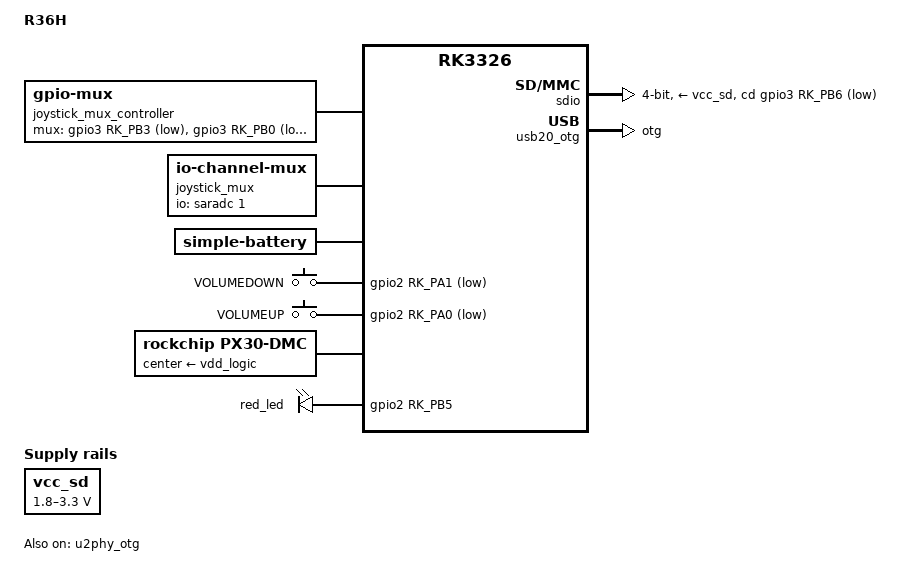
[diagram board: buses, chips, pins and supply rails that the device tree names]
// SPDX-License-Identifier: (GPL-2.0+ OR MIT)
/*
 * R36H (HL-R36H board): the ODROID-GO Super's layout without the FN button,
 * a 640x480 NV3051D panel and a second SD slot. Values from its stock DTB.
 */

/dts-v1/;
#include "rk3326-odroid-go.dtsi"

/ {
	model = "R36H";
	compatible = "gameconsole,r36h", "rockchip,rk3326";

	aliases {
		mmc1 = &sdio;
	};

	chosen {
		stdout-path = "serial2:115200n8";
	};

	reserved-memory {
		#address-cells = <2>;
		#size-cells = <2>;
		ranges;

		/* the kernel log survives a warm reset: boot.ini copies it to BOOT/ramoops.bin */
		ramoops@f000000 {
			compatible = "ramoops";
			reg = <0x0 0x0f000000 0x0 0x100000>;
			console-size = <0x80000>;
			record-size = <0x20000>;
		};
	};

	joystick_mux_controller: mux-controller {
		compatible = "gpio-mux";
		pinctrl-0 = <&mux_en_pins>;
		pinctrl-names = "default";
		#mux-control-cells = <0>;

		mux-gpios = <&gpio3 RK_PB3 GPIO_ACTIVE_LOW>,
			    <&gpio3 RK_PB0 GPIO_ACTIVE_LOW>;
	};

	joystick_mux: adc-mux {
		compatible = "io-channel-mux";
		io-channels = <&saradc 1>;
		io-channel-names = "parent";
		#io-channel-cells = <1>;

		mux-controls = <&joystick_mux_controller>;
		channels = "0", "1", "2", "3";
	};

	battery: battery {
		compatible = "simple-battery";
		charge-full-design-microamp-hours = <3380000>;
		charge-term-current-microamp = <300000>;
		constant-charge-current-max-microamp = <2000000>;
		constant-charge-voltage-max-microvolt = <4200000>;
		factory-internal-resistance-micro-ohms = <100000>;
		voltage-max-design-microvolt = <4200000>;
		voltage-min-design-microvolt = <3500000>;

		ocv-capacity-celsius = <20>;
		ocv-capacity-table-0 =  <4000000 100>, <3995000 95>, <3990000 90>, <3950000 85>,
					<3910000 80>, <3870000 75>, <3830000 70>, <3790000 65>,
					<3750000 60>, <3710000 55>, <3670000 50>, <3630000 45>,
					<3580000 40>, <3530000 35>, <3480000 30>, <3430000 25>,
					<3380000 20>, <3330000 15>, <3280000 10>, <3220000 5>,
					<3165000 0>;
	};

	gpio-keys-vol {
		compatible = "gpio-keys";
		autorepeat;
		pinctrl-0 = <&btn_pins_vol>;
		pinctrl-names = "default";

		button-vol-down {
			gpios = <&gpio2 RK_PA1 GPIO_ACTIVE_LOW>;
			label = "VOLUMEDOWN";
			linux,code = <KEY_VOLUMEDOWN>;
		};

		button-volume-up {
			gpios = <&gpio2 RK_PA0 GPIO_ACTIVE_LOW>;
			label = "VOLUMEUP";
			linux,code = <KEY_VOLUMEUP>;
		};
	};

	/* named as the GA36-MB's card, which the launcher and the scripts look for */
	rk817-sound {
		simple-audio-card,name = "GA36mbAudio";
		simple-audio-card,hp-det-gpios = <&gpio2 RK_PC6 GPIO_ACTIVE_LOW>;
	};

	/* from ROCKNIX's rk3326.dtsi: BL31 changes the DDR rate (0002, 0003) */
	dfi: dfi@ff610000 {
		compatible = "rockchip,px30-dfi";
		reg = <0x0 0xff610000 0x0 0x400>;
		rockchip,pmu = <&pmugrf>;
	};

	dmc: dmc {
		compatible = "rockchip,px30-dmc";
		interrupts = <GIC_SPI 105 IRQ_TYPE_LEVEL_HIGH>;
		interrupt-names = "complete";
		devfreq-events = <&dfi>;
		operating-points-v2 = <&dmc_opp_table>;
		center-supply = <&vdd_logic>;
	};

	dmc_opp_table: opp-table-dmc {
		compatible = "operating-points-v2";

		opp-194000000 {
			opp-hz = /bits/ 64 <194000000>;
			opp-microvolt = <950000>;
		};

		opp-328000000 {
			opp-hz = /bits/ 64 <328000000>;
			opp-microvolt = <950000>;
		};

		opp-450000000 {
			opp-hz = /bits/ 64 <450000000>;
			opp-microvolt = <950000>;
		};

		opp-528000000 {
			opp-hz = /bits/ 64 <528000000>;
			opp-microvolt = <975000>;
		};

		opp-666000000 {
			opp-hz = /bits/ 64 <666000000>;
			opp-microvolt = <1050000>;
		};
	};
};

/* f1 and f2 are the volume buttons, f5 and f6 are not wired (no FN) */
/delete-node/ &btn_f1;
/delete-node/ &btn_f2;
/delete-node/ &btn_f5;
/delete-node/ &btn_f6;
/delete-node/ &pwm_led;

/* buttons and sticks in one device, which apps take for the GA36-MB's gamepad: same name, same codes */
&builtin_gamepad {
	compatible = "gameconsole,gpio-adc-gamepad";
	label = "GA36-MB Gamepad";
	io-channels = <&joystick_mux 0>, <&joystick_mux 1>,
		      <&joystick_mux 2>, <&joystick_mux 3>;
	poll-interval = <16>;
	#address-cells = <1>;
	#size-cells = <0>;

	/* the mux's channels 1 and 3 are the left stick, upside down and mirrored; 0 and 2 the right one */
	axis@0 {
		reg = <0>;
		abs-flat = <10>;
		abs-fuzz = <10>;
		abs-range = <180 800>;
		linux,code = <ABS_RX>;
	};

	axis@1 {
		reg = <1>;
		abs-flat = <10>;
		abs-fuzz = <10>;
		abs-range = <800 180>;
		linux,code = <ABS_X>;
	};

	axis@2 {
		reg = <2>;
		abs-flat = <10>;
		abs-fuzz = <10>;
		abs-range = <180 800>;
		linux,code = <ABS_RY>;
	};

	axis@3 {
		reg = <3>;
		abs-flat = <10>;
		abs-fuzz = <10>;
		abs-range = <800 180>;
		linux,code = <ABS_Y>;
	};

	/* no FN on the R36H: declared only, so the button numbers stay the GA36-MB's */
	button-fn {
		label = "FN";
		linux,code = <BTN_MODE>;
	};

	button-sw19 {
		gpios = <&gpio3 RK_PB1 GPIO_ACTIVE_LOW>;
		label = "SELECT";
		linux,code = <BTN_SELECT>;
	};
	button-sw20 {
		gpios = <&gpio3 RK_PB7 GPIO_ACTIVE_LOW>;
		label = "TOP-RIGHT 2";
		linux,code = <BTN_TR2>;
	};
	button-sw21 {
		gpios = <&gpio3 RK_PB2 GPIO_ACTIVE_LOW>;
		label = "TOP-LEFT 2";
		linux,code = <BTN_TL2>;
	};
	button-sw22 {
		gpios = <&gpio3 RK_PB4 GPIO_ACTIVE_LOW>;
		label = "START";
		linux,code = <BTN_START>;
	};
};

&btn_f3 {
	label = "THUMBL";
	linux,code = <BTN_THUMBL>;
};

&btn_f4 {
	label = "THUMBR";
	linux,code = <BTN_THUMBR>;
};

&backlight {
	pwms = <&pwm1 0 62745 0>;
};

&internal_display {
	compatible = "gameconsole,r36h-panel", "newvision,nv3051d";
	vdd-supply = <&vcc_lcd>;
	/delete-property/ rotation;
};

/* the only LED software drives: red over the green power LED, which is wired to a rail.
 * It beats while the kernel runs: the one sign of life on a boot with no screen and no serial. */
&red_led {
	gpios = <&gpio2 RK_PB5 GPIO_ACTIVE_HIGH>;
	linux,default-trigger = "heartbeat";
};

&red_led_pin {
	rockchip,pins = <2 RK_PB5 RK_FUNC_GPIO &pcfg_pull_none>;
};

&pwm3 {
	status = "disabled";
};

/*
 * vdd_logic feeds the GPU and the DMC: an exact voltage per GPU OPP left the DMC no room
 * (1.05 V at 666 MHz against the GPU's 0.95 V at 200 MHz), so each GPU OPP takes a range
 */
&gpu_opp_table {
	opp-200000000 {
		opp-microvolt = <950000 950000 1150000>;
	};

	opp-300000000 {
		opp-microvolt = <975000 975000 1150000>;
	};

	opp-400000000 {
		opp-microvolt = <1050000 1050000 1150000>;
	};

	opp-480000000 {
		opp-microvolt = <1125000 1125000 1150000>;
	};
};

/* restart and power off through the PMIC: PSCI's reset never came back (reboot and sysrq both hung) */
&rk817 {
	rockchip,system-power-controller;
};

&rk817_charger {
	monitored-battery = <&battery>;
};

/* both slots signal at 1.8 V, as on the RG351 */
&io_domains {
	vccio1-supply = <&vccio_sd>;
};

&vcc_sd {
	regulator-max-microvolt = <3300000>;
	regulator-min-microvolt = <1800000>;
};

&vccio_sd {
	regulator-max-microvolt = <1800000>;
};

&sdio {
	bus-width = <4>;
	cap-sd-highspeed;
	card-detect-delay = <200>;
	cd-gpios = <&gpio3 RK_PB6 GPIO_ACTIVE_LOW>;
	sd-uhs-sdr12;
	sd-uhs-sdr25;
	vmmc-supply = <&vcc_sd>;
	vqmmc-supply = <&vccio_sd>;
	status = "okay";
};

&sfc {
	status = "disabled";
};

&u2phy_otg {
	status = "okay";
};

/* as in Andre Renaud's R36S DTS: dr_mode "peripheral" alone never connects */
&usb20_otg {
	dr_mode = "otg";
	usb-role-switch;
	role-switch-default-mode = "peripheral";
};

&pinctrl {
	btns {
		btn_pins: btn-pins {
			rockchip,pins = <1 RK_PA2 RK_FUNC_GPIO &pcfg_pull_up>,
					<1 RK_PA5 RK_FUNC_GPIO &pcfg_pull_up>,
					<1 RK_PA6 RK_FUNC_GPIO &pcfg_pull_up>,
					<1 RK_PA7 RK_FUNC_GPIO &pcfg_pull_up>,
					<1 RK_PB4 RK_FUNC_GPIO &pcfg_pull_up>,
					<1 RK_PB5 RK_FUNC_GPIO &pcfg_pull_up>,
					<1 RK_PB6 RK_FUNC_GPIO &pcfg_pull_up>,
					<1 RK_PB7 RK_FUNC_GPIO &pcfg_pull_up>,
					<2 RK_PA2 RK_FUNC_GPIO &pcfg_pull_up>,
					<2 RK_PA3 RK_FUNC_GPIO &pcfg_pull_up>,
					<2 RK_PA6 RK_FUNC_GPIO &pcfg_pull_up>,
					<2 RK_PA7 RK_FUNC_GPIO &pcfg_pull_up>,
					<3 RK_PB1 RK_FUNC_GPIO &pcfg_pull_up>,
					<3 RK_PB2 RK_FUNC_GPIO &pcfg_pull_up>,
					<3 RK_PB4 RK_FUNC_GPIO &pcfg_pull_up>,
					<3 RK_PB7 RK_FUNC_GPIO &pcfg_pull_up>;
		};
		btn_pins_vol: btn-pins-vol {
			rockchip,pins = <2 RK_PA0 RK_FUNC_GPIO &pcfg_pull_up>,
					<2 RK_PA1 RK_FUNC_GPIO &pcfg_pull_up>;
		};
	};

	joystick {
		mux_en_pins: mux-pins {
			rockchip,pins = <3 RK_PB5 RK_FUNC_GPIO &pcfg_output_low>;
		};
	};
};
